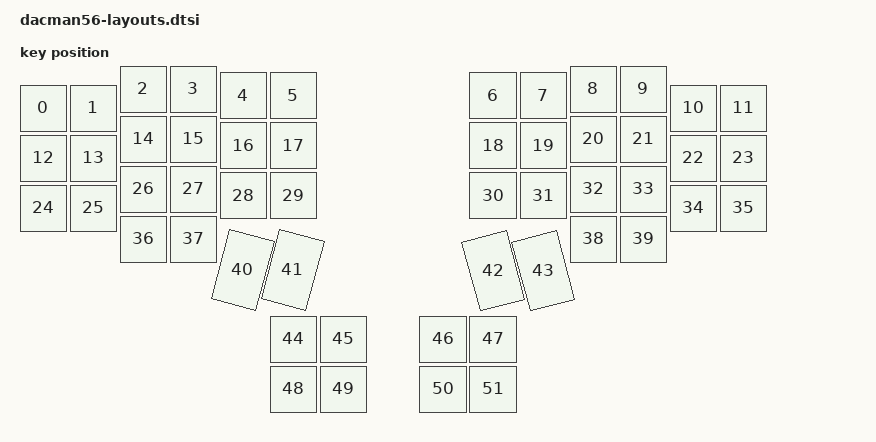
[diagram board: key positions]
#include <physical_layouts.dtsi>

/ {
    physical_layout: physical_layout0 {
        compatible = "zmk,physical-layout";
        display-name = "default transform";

        keys  //                     w   h    x    y     rot    rx    ry
            = <&key_physical_attrs 100 100    0   38       0     0     0>
            , <&key_physical_attrs 100 100  100   38       0     0     0>
            , <&key_physical_attrs 100 100  200    0       0     0     0>
            , <&key_physical_attrs 100 100  300    0       0     0     0>
            , <&key_physical_attrs 100 100  400   13       0     0     0>
            , <&key_physical_attrs 100 100  500   13       0     0     0>
            , <&key_physical_attrs 100 100  900   13       0     0     0>
            , <&key_physical_attrs 100 100 1000   13       0     0     0>
            , <&key_physical_attrs 100 100 1100    0       0     0     0>
            , <&key_physical_attrs 100 100 1200    0       0     0     0>
            , <&key_physical_attrs 100 100 1300   38       0     0     0>
            , <&key_physical_attrs 100 100 1400   38       0     0     0>
            , <&key_physical_attrs 100 100    0  138       0     0     0>
            , <&key_physical_attrs 100 100  100  138       0     0     0>
            , <&key_physical_attrs 100 100  200  100       0     0     0>
            , <&key_physical_attrs 100 100  300  100       0     0     0>
            , <&key_physical_attrs 100 100  400  113       0     0     0>
            , <&key_physical_attrs 100 100  500  113       0     0     0>
            , <&key_physical_attrs 100 100  900  113       0     0     0>
            , <&key_physical_attrs 100 100 1000  113       0     0     0>
            , <&key_physical_attrs 100 100 1100  100       0     0     0>
            , <&key_physical_attrs 100 100 1200  100       0     0     0>
            , <&key_physical_attrs 100 100 1300  138       0     0     0>
            , <&key_physical_attrs 100 100 1400  138       0     0     0>
            , <&key_physical_attrs 100 100    0  238       0     0     0>
            , <&key_physical_attrs 100 100  100  238       0     0     0>
            , <&key_physical_attrs 100 100  200  200       0     0     0>
            , <&key_physical_attrs 100 100  300  200       0     0     0>
            , <&key_physical_attrs 100 100  400  213       0     0     0>
            , <&key_physical_attrs 100 100  500  213       0     0     0>
            , <&key_physical_attrs 100 100  900  213       0     0     0>
            , <&key_physical_attrs 100 100 1000  213       0     0     0>
            , <&key_physical_attrs 100 100 1100  200       0     0     0>
            , <&key_physical_attrs 100 100 1200  200       0     0     0>
            , <&key_physical_attrs 100 100 1300  238       0     0     0>
            , <&key_physical_attrs 100 100 1400  238       0     0     0>
            , <&key_physical_attrs 100 100  200  300       0     0     0>
            , <&key_physical_attrs 100 100  300  300       0     0     0>
            , <&key_physical_attrs 100 100 1100  300       0     0     0>
            , <&key_physical_attrs 100 100 1200  300       0     0     0>
            , <&key_physical_attrs 100 150  300  338    1500   402   790>
            , <&key_physical_attrs 100 150  400  338    1500   502   790>
            , <&key_physical_attrs 100 150 1000  338 (-1500)  1002   790>
            , <&key_physical_attrs 100 150 1100  338 (-1500)  1102   790>
            , <&key_physical_attrs 100 100  500  500       0     0     0>
            , <&key_physical_attrs 100 100  600  500       0     0     0>
            , <&key_physical_attrs 100 100  800  500       0     0     0>
            , <&key_physical_attrs 100 100  900  500       0     0     0>
            , <&key_physical_attrs 100 100  500  600       0     0     0>
            , <&key_physical_attrs 100 100  600  600       0     0     0>
            , <&key_physical_attrs 100 100  800  600       0     0     0>
            , <&key_physical_attrs 100 100  900  600       0     0     0>
            ;
    };

    position_map {
        compatible = "zmk,physical-layout-position-map";

        complete;

        default_transform {
            physical-layout = <&physical_layout>;
            positions = <>;
        };
    };
};
